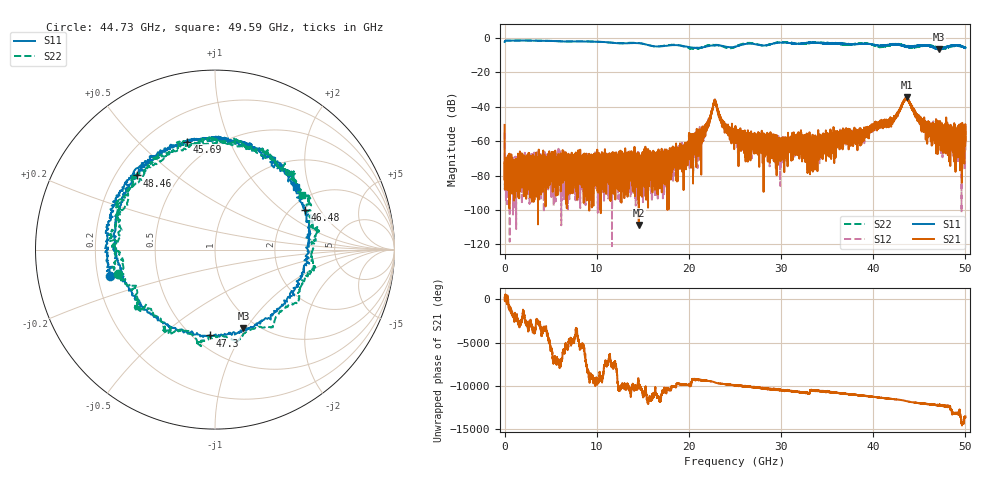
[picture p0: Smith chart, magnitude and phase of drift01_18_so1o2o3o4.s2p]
!Created with skrf (http://scikit-rf.org).
# Hz S RI R 50.0
!freq ReS11 ImS11 ReS21 ImS21 ReS12 ImS12 ReS22 ImS22
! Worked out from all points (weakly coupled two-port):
!   10001 points, 300 kHz to 50 GHz, reference 50 ohm
!   highest |S21| = -34.52 dB at 43.64 GHz (marker M1); lowest = -108.7 dB at 14.56 GHz (marker M2)
!   lowest |S11| = -6.6 dB at 47.15 GHz (marker M3), VSWR 2.75, Z = 43.3 - j48.7 ohm
!   |S11| at or under -10 dB: nowhere
!   |S22| runs from -6.4 to -1.4 dB; largest |S21 - S12| = 0.0045
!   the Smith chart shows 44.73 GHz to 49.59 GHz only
!   S11 on the Smith chart (normalised r, x): 44.73 GHz: 0.25, -0.12; 45.69 GHz: 0.36, +0.71; 46.48 GHz: 2.36, +1.48; 47.3 GHz: 0.60, -0.75; 48.46 GHz: 0.29, +0.37; 49.59 GHz: 1.59, +1.65
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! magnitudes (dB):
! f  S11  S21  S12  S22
! 300 kHz  -2.2  -50.5  -54.7  -2.1
! 255.3 MHz  -1.4  -75.2  -82.6  -1.4
! 8.335 GHz  -1.9  -74.0  -72.1  -1.8
! 14.56 GHz  -2.9  -108.7  -83.4  -2.9
! 16.67 GHz  -4.9  -68.2  -74.8  -4.8
! 20.82 GHz  -5.7  -65.1  -56.7  -6.2
! 21.76 GHz  -5.1  -52.1  -53.9  -4.8
! 22.8 GHz  -4.3  -36.5  -36.4  -4.0
! 23.69 GHz  -4.6  -48.7  -48.5  -4.9
! 25 GHz  -5.0  -57.5  -58.1  -5.1
! 29.95 GHz  -2.6  -67.6  -75.2  -2.3
! 33.34 GHz  -2.6  -61.9  -63.1  -2.6
! 41.67 GHz  -3.9  -49.5  -48.9  -4.2
! 43.64 GHz  -5.0  -34.5  -35.1  -5.0
! 44.73 GHz  -4.4  -46.7  -45.9  -5.0
! 45.69 GHz  -4.1  -48.5  -50.9  -4.4
! 46.48 GHz  -5.2  -59.5  -51.8  -4.8
! 47.15 GHz  -6.6  -52.3  -55.4  -6.2
! 47.3 GHz  -6.4  -51.1  -51.0  -6.0
! 48.46 GHz  -4.5  -58.8  -56.6  -4.9
! 49.59 GHz  -4.9  -56.5  -57.6  -4.8
! 50 GHz  -5.6  -62.5  -60.1  -5.4
